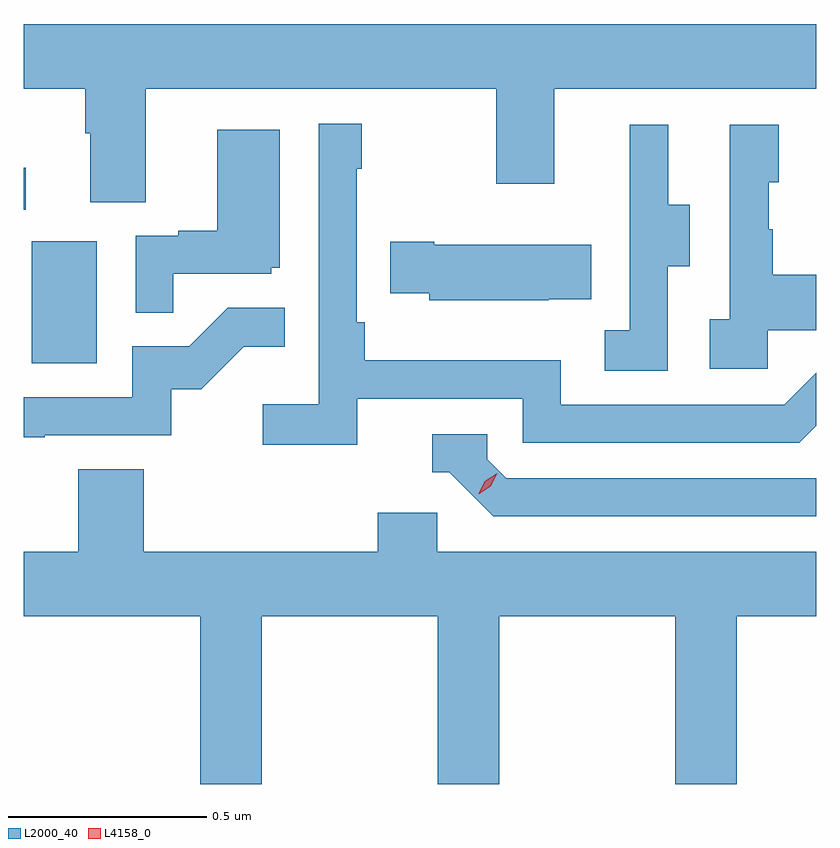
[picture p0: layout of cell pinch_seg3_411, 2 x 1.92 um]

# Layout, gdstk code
import gdstk
lib = gdstk.Library(unit=1e-6, precision=1e-09)
def R(c, l, rs):  # rectangles x0, y0, x1, y1
    for r in rs: c.add(gdstk.rectangle(r[:2], r[2:], *l))
def P(c, l, *ps):  # polygons
    for p in ps: c.add(gdstk.Polygon(p, *l))
L2000_40 = (2000, 40)
L4158_0 = (4158, 0)

pinch_seg3_411 = lib.new_cell('pinch_seg3_411')
R(pinch_seg3_411, L2000_40, [(912.794,696.228,912.958,696.535), (912.774,696.615,912.778,696.721)])
P(pinch_seg3_411, L2000_40, [(913.081,696.92),(913.966,696.92),(913.966,696.681),(914.113,696.681),(914.113,696.92),(914.774,696.92),(914.774,697.084),(912.774,697.084),(912.774,696.92),(912.929,696.92),(912.929,696.808),(912.941,696.808),(912.941,696.634),(913.081,696.634)],
  [(913.616,696.138),(914.034,696.138),(914.034,696.027),(914.731,696.027),(914.774,696.07),(914.774,696.203),(914.694,696.123),(914.13,696.123),(914.13,696.235),(913.634,696.235),(913.634,696.331),(913.614,696.331),(913.614,696.719),(913.627,696.719),(913.627,696.832),(913.518,696.832),(913.518,696.124),(913.377,696.124),(913.377,696.022),(913.616,696.022)],
  [(914.652,696.311),(914.774,696.311),(914.774,696.451),(914.665,696.451),(914.665,696.566),(914.655,696.566),(914.655,696.684),(914.68,696.684),(914.68,696.829),(914.556,696.829),(914.556,696.338),(914.505,696.338),(914.505,696.213),(914.652,696.213)],
  [(914.4,696.472),(914.455,696.472),(914.455,696.627),(914.401,696.627),(914.401,696.829),(914.303,696.829),(914.303,696.615),(914.304,696.615),(914.304,696.311),(914.241,696.311),(914.241,696.208),(914.4,696.208)],
  [(913.151,696.453),(913.398,696.453),(913.398,696.468),(913.42,696.468),(913.42,696.817),(913.262,696.817),(913.262,696.562),(913.163,696.562),(913.163,696.549),(913.056,696.549),(913.056,696.355),(913.151,696.355)],
  [(914.099,696.389),(914.207,696.389),(914.207,696.526),(913.81,696.526),(913.81,696.534),(913.699,696.534),(913.699,696.404),(913.797,696.404),(913.797,696.386),(914.099,696.386)],
  [(912.827,696.045),(913.146,696.045),(913.146,696.162),(913.222,696.162),(913.329,696.269),(913.433,696.269),(913.433,696.368),(913.289,696.368),(913.191,696.27),(913.047,696.27),(913.047,696.141),(912.774,696.141),(912.774,696.04),(912.827,696.04)],
  [(914.774,695.937),(913.992,695.937),(913.944,695.985),(913.944,696.048),(913.805,696.048),(913.805,695.952),(913.848,695.952),(913.959,695.841),(914.774,695.841)],
  [(913.219,695.165),(913.374,695.165),(913.374,695.588),(913.819,695.588),(913.819,695.165),(913.974,695.165),(913.974,695.588),(914.419,695.588),(914.419,695.165),(914.574,695.165),(914.574,695.588),(914.774,695.588),(914.774,695.752),(913.818,695.752),(913.818,695.85),(913.667,695.85),(913.667,695.752),(913.076,695.752),(913.076,695.96),(912.911,695.96),(912.911,695.752),(912.774,695.752),(912.774,695.588),(913.219,695.588)])
P(pinch_seg3_411, L4158_0, [(913.922,695.898),(913.922,695.898),(913.938,695.93),(913.969,695.95),(913.969,695.95),(913.969,695.95),(913.953,695.917),(913.923,695.898)])

lib.write_gds('pinch_seg3_411.gds')
